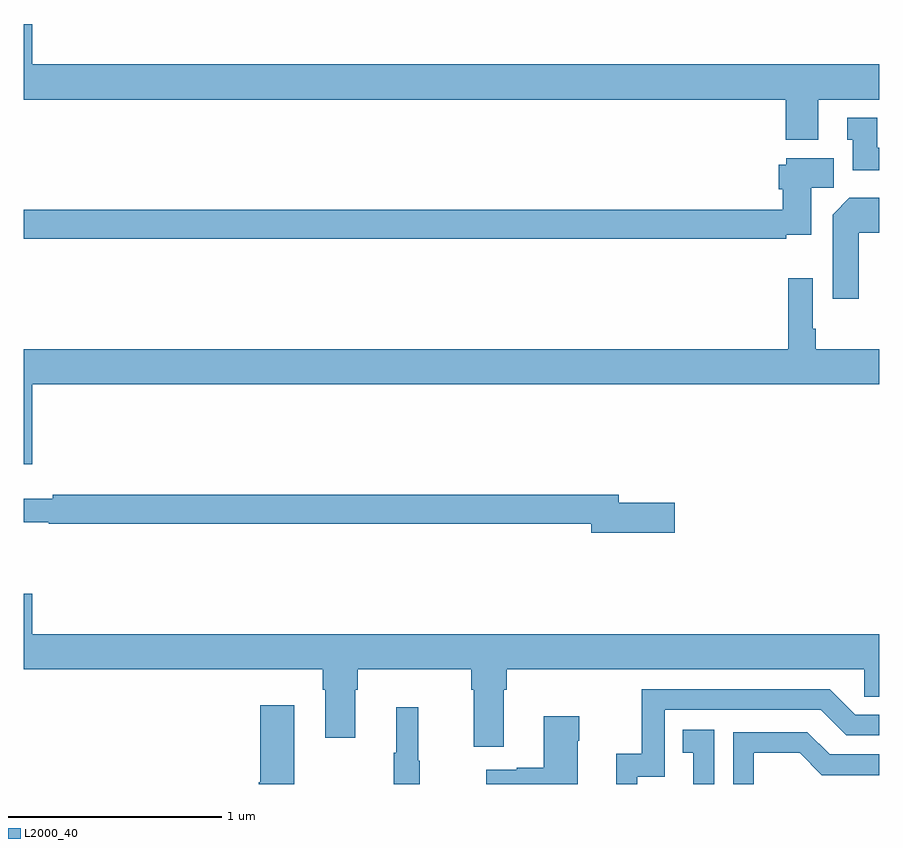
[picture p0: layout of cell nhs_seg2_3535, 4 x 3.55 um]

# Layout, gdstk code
import gdstk
lib = gdstk.Library(unit=1e-6, precision=1e-09)
def P(c, l, *ps):  # polygons
    for p in ps: c.add(gdstk.Polygon(p, *l))
L2000_40 = (2000, 40)

nhs_seg2_3535 = lib.new_cell('nhs_seg2_3535')
P(nhs_seg2_3535, L2000_40, [(300.715,617),(301,617),(301,617.164),(297.04,617.164),(297.04,617.353),(297,617.353),(297,617),(300.563,617),(300.563,616.811),(300.715,616.811)],
  [(301,616.774),(300.991,616.774),(300.991,616.915),(300.851,616.915),(300.851,616.812),(300.875,616.812),(300.875,616.67),(301,616.67)],
  [(300.566,616.367),(300.682,616.367),(300.682,616.588),(300.787,616.588),(300.787,616.726),(300.564,616.726),(300.564,616.695),(300.53,616.695),(300.53,616.581),(300.548,616.581),(300.548,616.484),(297,616.484),(297,616.348),(300.566,616.348)],
  [(300.904,616.376),(301,616.376),(301,616.54),(300.86,616.54),(300.782,616.462),(300.782,616.068),(300.904,616.068)],
  [(300.69,615.928),(300.69,616.165),(300.574,616.165),(300.574,615.832),(297,615.832),(297,615.294),(297.04,615.294),(297.04,615.668),(301,615.668),(301,615.832),(300.703,615.832),(300.703,615.928)],
  [(300.043,615.116),(299.782,615.116),(299.782,615.152),(297.136,615.152),(297.136,615.133),(297,615.133),(297,615.024),(297.116,615.024),(297.116,615.016),(299.654,615.016),(299.654,614.974),(300.043,614.974)],
  [(299.245,614.24),(299.258,614.24),(299.258,614.336),(300.93,614.336),(300.93,614.209),(301,614.209),(301,614.5),(297.04,614.5),(297.04,614.689),(297,614.689),(297,614.336),(298.397,614.336),(298.397,614.24),(298.409,614.24),(298.409,614.016),(298.549,614.016),(298.549,614.24),(298.562,614.24),(298.562,614.336),(299.093,614.336),(299.093,614.24),(299.105,614.24),(299.105,613.974),(299.245,613.974)],
  [(299.868,613.833),(299.997,613.833),(299.997,614.148),(300.726,614.148),(300.846,614.028),(301,614.028),(301,614.124),(300.888,614.124),(300.768,614.244),(299.889,614.244),(299.889,613.942),(299.771,613.942),(299.771,613.8),(299.868,613.8)],
  [(298.264,614.167),(298.106,614.167),(298.106,613.809),(298.1,613.809),(298.1,613.8),(298.264,613.8)],
  [(298.852,613.908),(298.844,613.908),(298.844,614.158),(298.742,614.158),(298.742,613.945),(298.731,613.945),(298.731,613.8),(298.852,613.8)],
  [(299.59,614.003),(299.598,614.003),(299.598,614.116),(299.432,614.116),(299.432,613.877),(299.306,613.877),(299.306,613.867),(299.163,613.867),(299.163,613.8),(299.59,613.8)],
  [(300.228,614.053),(300.082,614.053),(300.082,613.947),(300.131,613.947),(300.131,613.8),(300.228,613.8)],
  [(300.414,613.946),(300.628,613.946),(300.732,613.842),(301,613.842),(301,613.938),(300.769,613.938),(300.664,614.043),(300.318,614.043),(300.318,613.8),(300.414,613.8)])

lib.write_gds('nhs_seg2_3535.gds')
